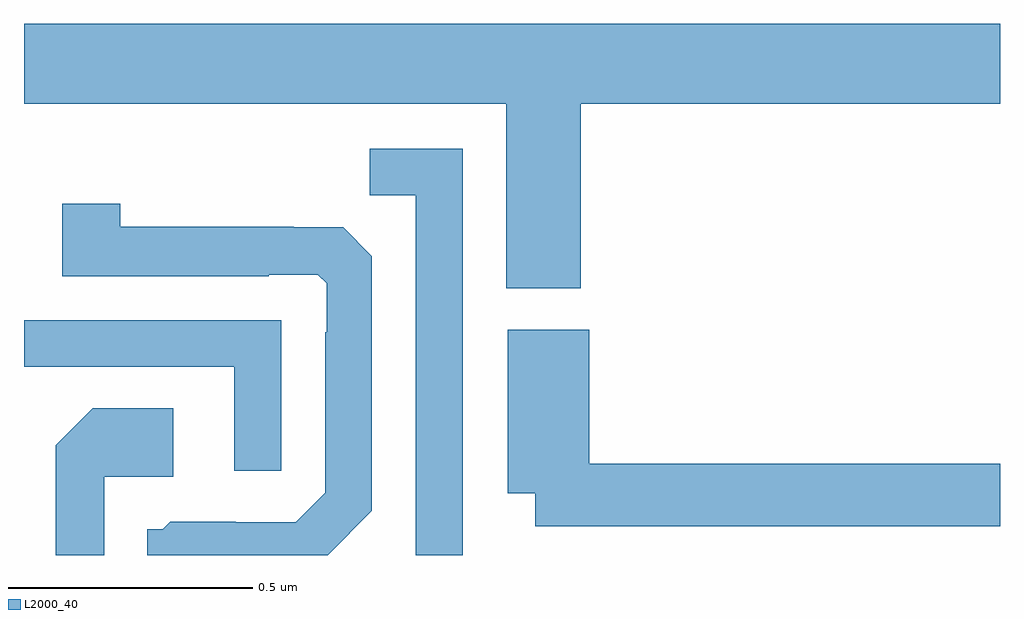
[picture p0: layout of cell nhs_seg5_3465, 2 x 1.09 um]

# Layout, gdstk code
import gdstk
lib = gdstk.Library(unit=1e-6, precision=1e-09)
def P(c, l, *ps):  # polygons
    for p in ps: c.add(gdstk.Polygon(p, *l))
L2000_40 = (2000, 40)

nhs_seg5_3465 = lib.new_cell('nhs_seg5_3465')
P(nhs_seg5_3465, L2000_40, [(158.141,892.724),(159,892.724),(159,892.888),(157,892.888),(157,892.724),(157.988,892.724),(157.988,892.346),(158.141,892.346)],
  [(157.899,892.632),(157.708,892.632),(157.708,892.537),(157.803,892.537),(157.803,891.799),(157.899,891.799)],
  [(157.713,891.89),(157.713,892.412),(157.654,892.471),(157.553,892.471),(157.553,892.472),(157.197,892.472),(157.197,892.519),(157.078,892.519),(157.078,892.371),(157.502,892.371),(157.502,892.374),(157.602,892.374),(157.62,892.356),(157.62,892.256),(157.617,892.256),(157.617,891.927),(157.557,891.867),(157.434,891.867),(157.434,891.868),(157.3,891.868),(157.284,891.852),(157.253,891.852),(157.253,891.799),(157.622,891.799)],
  [(157.527,892.281),(157,892.281),(157,892.185),(157.431,892.185),(157.431,891.972),(157.527,891.972)],
  [(159,891.986),(158.158,891.986),(158.158,892.261),(157.991,892.261),(157.991,891.926),(158.048,891.926),(158.048,891.858),(159,891.858)],
  [(157.164,891.96),(157.306,891.96),(157.306,892.1),(157.141,892.1),(157.065,892.024),(157.065,891.799),(157.164,891.799)])

lib.write_gds('nhs_seg5_3465.gds')
